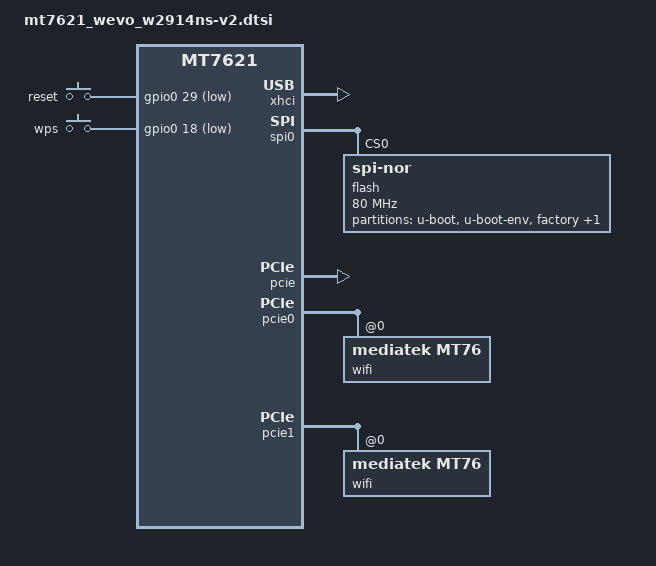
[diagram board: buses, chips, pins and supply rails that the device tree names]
#include "mt7621.dtsi"

#include <dt-bindings/gpio/gpio.h>
#include <dt-bindings/input/input.h>

/ {
	compatible = "wevo,w2914ns-v2", "mediatek,mt7621-soc";

	chosen {
		bootargs = "console=ttyS0,57600";
	};

	keys {
		compatible = "gpio-keys";

		reset {
			label = "reset";
			gpios = <&gpio0 29 GPIO_ACTIVE_LOW>;
			linux,code = <KEY_RESTART>;
		};

		wps {
			label = "wps";
			gpios = <&gpio0 18 GPIO_ACTIVE_LOW>;
			linux,code = <KEY_WPS_BUTTON>;
		};
	};
};

&xhci {
	status = "okay";
};

&spi0 {
	status = "okay";

	flash@0 {
		compatible = "jedec,spi-nor";
		reg = <0>;
		spi-max-frequency = <80000000>;
		m25p,fast-read;

		partitions {
			compatible = "fixed-partitions";
			#address-cells = <1>;
			#size-cells = <1>;

			partition@0 {
				label = "u-boot";
				reg = <0x0 0x30000>;
				read-only;
			};

			partition@30000 {
				label = "u-boot-env";
				reg = <0x30000 0x10000>;
				read-only;
			};

			factory: partition@40000 {
				label = "factory";
				reg = <0x40000 0x10000>;
				read-only;
			};

			partition@50000 {
				compatible = "denx,uimage";
				label = "firmware";
				reg = <0x50000 0xfb0000>;
			};
		};
	};
};

&pcie {
	status = "okay";
};

&pcie0 {
	wifi@0,0 {
		compatible = "mediatek,mt76";
		reg = <0x0000 0 0 0 0>;
		mediatek,mtd-eeprom = <&factory 0x0000>;

		led {
			led-sources = <0>;
			led-active-low;
		};
	};
};

&pcie1 {
	wifi@0,0 {
		compatible = "mediatek,mt76";
		reg = <0x0000 0 0 0 0>;
		mediatek,mtd-eeprom = <&factory 0x8000>;
		ieee80211-freq-limit = <5000000 6000000>;

		led {
			led-sources = <2>;
			led-active-low;
		};
	};
};

&ethernet {
	mtd-mac-address = <&factory 0xe000>;
};

&pinctrl {
	state_default: pinctrl0 {
		gpio {
			ralink,group = "wdt", "rgmii2";
			ralink,function = "gpio";
		};
	};
};
